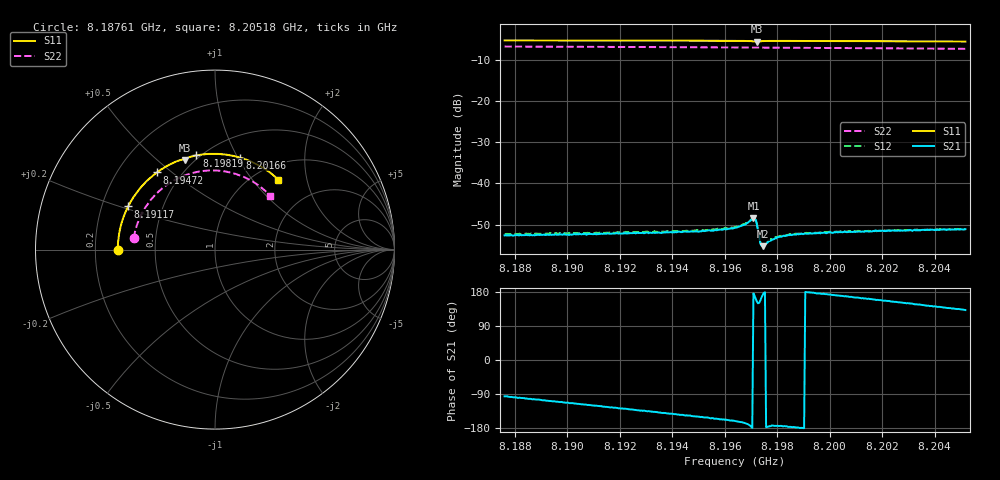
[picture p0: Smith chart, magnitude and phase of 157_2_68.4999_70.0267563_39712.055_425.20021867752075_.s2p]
#  HZ  S  RI  R  50.00
! Rohde & Schwarz Vector Network Analyzer
! Rohde-Schwarz,ZNB20-2Port,1311601062101988,3.16
! Created: UTC 3/20/2024, 4:55:38 PM
! freq[Hz]  re:S11  im:S11  re:S21  im:S21  re:S12  im:S12  re:S22  im:S22
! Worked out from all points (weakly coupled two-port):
!   401 points, 8.18761 GHz to 8.20518 GHz, reference 50 ohm
!   highest |S21| = -48.45 dB at 8.1971 GHz (marker M1); lowest = -55.2 dB at 8.19745 GHz (marker M2)
!   lowest |S11| = -5.6 dB at 8.19723 GHz (marker M3), VSWR 3.20, Z = 22.6 + j31 ohm
!   |S11| at or under -10 dB: nowhere
!   |S22| runs from -7.4 to -6.8 dB; largest |S21 - S12| = 0.00019
!   S11 on the Smith chart (normalised r, x): 8.18761 GHz: 0.30, +0.00; 8.19117 GHz: 0.31, +0.21; 8.19472 GHz: 0.37, +0.44; 8.19819 GHz: 0.48, +0.70; 8.20166 GHz: 0.72, +1.02; 8.20518 GHz: 1.27, +1.37
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8.18761e9  -0.5421 0.000267  -0.000239 -0.00233  -0.000285 -0.0024  -0.4526 0.0652
8.189059e9  -0.5319 0.1012  -0.000665 -0.00228  -0.000719 -0.00235  -0.4327 0.1429
8.190553e9  -0.5018 0.2014  -0.00109 -0.00215  -0.00117 -0.00221  -0.3981 0.218
8.191167e9  -0.4841 0.2405  -0.00126 -0.00208  -0.00133 -0.00209  -0.38 0.247
8.193495e9  -0.389 0.3731  -0.00191 -0.00168  -0.002 -0.00167  -0.293 0.3419
8.194725e9  -0.3238 0.4299  -0.00223 -0.0014  -0.00232 -0.00137  -0.2367 0.3809
8.195559e9  -0.2743 0.4622  -0.00239 -0.00118  -0.00255 -0.0011  -0.1952 0.4023
8.196393e9  -0.2207 0.4889  -0.00275 -0.000944  -0.00285 -0.000833  -0.1517 0.4192
8.196701e9  -0.1995 0.4968  -0.00301 -0.000802  -0.00312 -0.000726  -0.1351 0.4243
8.197096e9  -0.1688 0.501  -0.00377 0.000274  -0.00386 0.000427  -0.1136 0.4297
8.19714e9  -0.1662 0.4992  -0.00369 0.000703  -0.00374 0.000869  -0.1112 0.4301
8.197184e9  -0.165 0.4974  -0.00344 0.00113  -0.00343 0.00131  -0.1087 0.4307
8.197228e9  -0.1654 0.4968  -0.00285 0.00139  -0.00286 0.00158  -0.1066 0.4313
8.19736e9  -0.1636 0.5036  -0.00173 0.000731  -0.00176 0.000821  -0.0995 0.4328
8.197448e9  -0.158 0.5084  -0.00171 0.000276  -0.00175 0.000339  -0.0946 0.4338
8.197535e9  -0.1517 0.5117  -0.00181 3.82e-05  -0.00185 7.39e-05  -0.0896 0.4347
8.197843e9  -0.129 0.5193  -0.00209 -0.000241  -0.00213 -0.000134  -0.0724 0.4374
8.198194e9  -0.1039 0.5248  -0.00228 -0.000216  -0.0023 -8.96e-05  -0.0528 0.4397
8.199336e9  -0.0229 0.5336  -0.00246 0.000103  -0.00253 0.000227  0.0118 0.4407
8.201664e9  0.1398 0.5126  -0.0025 0.00091  -0.00246 0.00103  0.1406 0.413
8.202278e9  0.181 0.4985  -0.00243 0.00109  -0.00238 0.00126  0.1731 0.3991
8.205177e9  0.3535 0.3895  -0.00186 0.00208  -0.00179 0.00213  0.3068 0.2999
